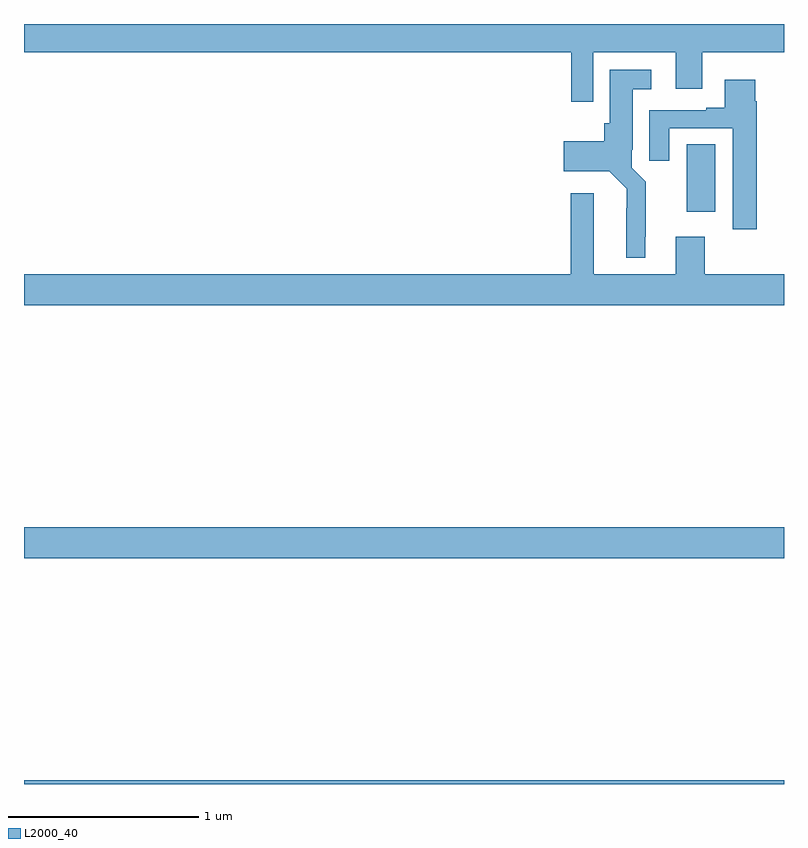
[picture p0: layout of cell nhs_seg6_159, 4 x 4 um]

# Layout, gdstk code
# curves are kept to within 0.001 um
import gdstk
lib = gdstk.Library(unit=1e-6, precision=1e-09)
def R(c, l, rs):  # rectangles x0, y0, x1, y1
    for r in rs: c.add(gdstk.rectangle(r[:2], r[2:], *l))
def P(c, l, *ps):  # polygons
    for p in ps: c.add(gdstk.Polygon(p, *l))
L2000_40 = (2000, 40)

nhs_seg6_159 = lib.new_cell('nhs_seg6_159')
R(nhs_seg6_159, L2000_40, [(119,927.5,123,927.52), (119,928.688,123,928.852), (122.489,930.513,122.638,930.866)])
P(nhs_seg6_159, L2000_40, [(121.995,931.352),(122.429,931.352),(122.429,931.158),(122.569,931.158),(122.569,931.352),(123,931.352),(123,931.5),(119,931.5),(119,931.352),(121.879,931.352),(121.879,931.092),(121.995,931.092)],
  [(122.269,930.379),(122.273,930.379),(122.273,930.67),(122.199,930.744),(122.199,930.838),(122.203,930.838),(122.203,931.157),(122.302,931.157),(122.302,931.258),(122.084,931.258),(122.084,930.978),(122.054,930.978),(122.054,930.883),(121.842,930.883),(121.842,930.725),(122.079,930.725),(122.172,930.632),(122.171,930.269),(122.269,930.269)],
  [(122.856,931.094),(122.848,931.094),(122.848,931.207),(122.687,931.207),(122.687,931.06),(122.591,931.06),(122.591,931.047),(122.291,931.047),(122.291,930.78),(122.395,930.78),(122.395,930.951),(122.729,930.951),(122.729,930.42),(122.856,930.42)],
  [(123,930.184),(122.582,930.184),(122.582,930.379),(122.429,930.379),(122.429,930.184),(121.999,930.184),(121.999,930.61),(121.877,930.61),(121.877,930.184),(119,930.184),(119,930.02),(123,930.02)])

lib.write_gds('nhs_seg6_159.gds')
